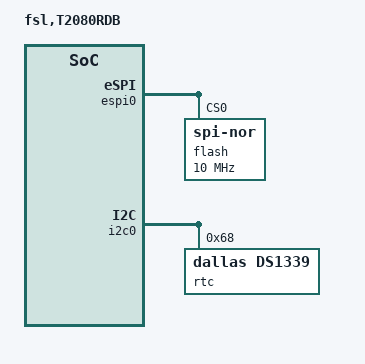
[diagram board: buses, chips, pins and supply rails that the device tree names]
// SPDX-License-Identifier: GPL-2.0+ OR X11
/*
 * T2080RDB Device Tree Source
 *
 * Copyright 2013 - 2015 Freescale Semiconductor Inc.
 * Copyright 2019 NXP
 */

/include/ "t2080.dtsi"

/ {
	model = "fsl,T2080RDB";
	compatible = "fsl,T2080RDB";
	#address-cells = <2>;
	#size-cells = <2>;
	interrupt-parent = <&mpic>;

	aliases {
		spi0 = &espi0;
	};
};

&espi0 {
	status = "okay";
	flash@0 {
		compatible = "jedec,spi-nor"; /* 16MB */
		#address-cells = <1>;
		#size-cells = <1>;
		reg = <0>;
		spi-max-frequency = <10000000>; /* input clock */
	};
};

&i2c0 {
	status = "okay";
	rtc@68 {
		compatible = "dallas,ds1339";
		reg = <0x68>;
	};
};
